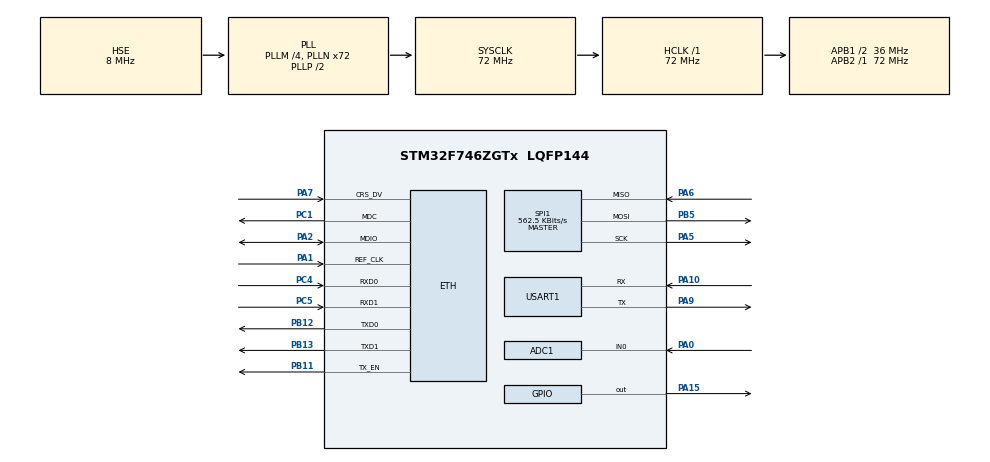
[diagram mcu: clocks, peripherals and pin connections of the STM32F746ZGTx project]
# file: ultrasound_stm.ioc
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ADC1.Channel-0\#ChannelRegularConversion=ADC_CHANNEL_0
ADC1.ContinuousConvMode=ENABLE
ADC1.DMAContinuousRequests=DISABLE
ADC1.EOCSelection=ADC_EOC_SEQ_CONV
ADC1.NbrOfConversionFlag=1
ADC1.Rank-0\#ChannelRegularConversion=1
ADC1.Resolution=ADC_RESOLUTION_8B
ADC1.SamplingTime-0\#ChannelRegularConversion=ADC_SAMPLETIME_3CYCLES
ADC1.ScanConvMode=ADC_SCAN_ENABLE
ADC1.master=1
ETH.MediaInterface=ETH_MEDIA_INTERFACE_RMII
LWIP.IP_ADDRESS=169.254.212.180
LWIP.LWIP_DHCP=0
LWIP.NETMASK_ADDRESS=255.255.000.000
LWIP.Version=v2.0.3_Cube
Mcu.Family=STM32F7
Mcu.Name=STM32F746ZGTx
Mcu.Package=LQFP144
NVIC.PriorityGroup=NVIC_PRIORITYGROUP_4
PA0/WKUP.Signal=ADCx_IN0
PA1.Mode=RMII
PA1.Signal=ETH_REF_CLK
PA10.Mode=Asynchronous
PA10.Signal=USART1_RX
PA13.Mode=Serial_Wire
PA13.Signal=SYS_JTMS-SWDIO
PA14.Mode=Serial_Wire
PA14.Signal=SYS_JTCK-SWCLK
PA15.Signal=GPIO_Output
PA2.Mode=RMII
PA2.Signal=ETH_MDIO
PA4.Signal=SPI1_NSS
PA5.Mode=Full_Duplex_Master
PA5.Signal=SPI1_SCK
PA6.Mode=Full_Duplex_Master
PA6.Signal=SPI1_MISO
PA7.Mode=RMII
PA7.Signal=ETH_CRS_DV
PA9.Mode=Asynchronous
PA9.Signal=USART1_TX
PB11.Mode=RMII
PB11.Signal=ETH_TX_EN
PB12.Mode=RMII
PB12.Signal=ETH_TXD0
PB13.Mode=RMII
PB13.Signal=ETH_TXD1
PB5.Mode=Full_Duplex_Master
PB5.Signal=SPI1_MOSI
PC1.Mode=RMII
PC1.Signal=ETH_MDC
PC4.Mode=RMII
PC4.Signal=ETH_RXD0
PC5.Mode=RMII
PC5.Signal=ETH_RXD1
PH0/OSC_IN.Mode=HSE-External-Oscillator
PH0/OSC_IN.Signal=RCC_OSC_IN
PH1/OSC_OUT.Mode=HSE-External-Oscillator
PH1/OSC_OUT.Signal=RCC_OSC_OUT
ProjectManager.HeapSize=0x200
ProjectManager.StackSize=0x4000
ProjectManager.TargetToolchain=STM32CubeIDE
RCC.48MHZClocksFreq_Value=24000000
RCC.AHBFreq_Value=72000000
RCC.APB1CLKDivider=RCC_HCLK_DIV2
RCC.APB1Freq_Value=36000000
RCC.APB1TimFreq_Value=72000000
RCC.APB2Freq_Value=72000000
RCC.APB2TimFreq_Value=72000000
RCC.CortexFreq_Value=72000000
RCC.HCLKFreq_Value=72000000
RCC.HSE_VALUE=8000000
RCC.HSI_VALUE=16000000
RCC.LSE_VALUE=32768
RCC.PLLM=4
RCC.PLLMUL=RCC_PLL_MUL9
RCC.PLLN=72
RCC.PLLQ=3
RCC.PLLSourceVirtual=RCC_PLLSOURCE_HSE
RCC.PRESCALERUSB=RCC_USBCLKSOURCE_PLL_DIV1_5
RCC.SYSCLKFreq_VALUE=72000000
RCC.SYSCLKSource=RCC_SYSCLKSOURCE_PLLCLK
RCC.SYSCLKSourceVirtual=RCC_SYSCLKSOURCE_PLLCLK
RCC.USBFreq_Value=48000000
RCC.VCOOutputFreq_Value=144000000
SH.ADCx_IN0.0=ADC1_IN0,IN0
SPI1.BaudRatePrescaler=SPI_BAUDRATEPRESCALER_128
SPI1.CalculateBaudRate=562.5 KBits/s
SPI1.DataSize=SPI_DATASIZE_8BIT
SPI1.Direction=SPI_DIRECTION_2LINES
SPI1.Mode=SPI_MODE_MASTER
SPI1.VirtualType=VM_MASTER
USART1.VirtualMode-Asynchronous=VM_ASYNC
VP_LWIP_VS_Enabled.Mode=Enabled
board=NUCLEO-F746ZG

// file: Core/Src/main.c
/* USER CODE BEGIN Header */
/**
  ******************************************************************************
  * @file           : main.c
  * @brief          : Main program body
  ******************************************************************************
  * @attention
  *
  * <h2><center>&copy; Copyright (c) 2019 STMicroelectronics.
  * All rights reserved.</center></h2>
  *
  * This software component is licensed by ST under BSD 3-Clause license,
  * the "License"; You may not use this file except in compliance with the
  * License. You may obtain a copy of the License at:
  *                        opensource.org/licenses/BSD-3-Clause
  *
  ******************************************************************************
  */
/* USER CODE END Header */

#include "main.h"
#include "adc.h"
#include "lwip.h"
#include "spi.h"
#include "usart.h"
#include "gpio.h"

/* USER CODE BEGIN Includes */
#include <stdio.h>
#include <stdarg.h>
#include <string.h>
#include "udp_client.h"
/* USER CODE END Includes */

/* USER CODE BEGIN PTD */
#define ADC_BUFFER_LENGTH 500
/* USER CODE END PTD */

/* USER CODE BEGIN PV */
unsigned long timestamp;
uint16_t encoder;
uint8_t adc_buffer[ADC_BUFFER_LENGTH];
const unsigned char marker[10] = {0x00,0x01,0x00,0x01,0x00,0x01,0x00,0x01,0x00,0x01};
unsigned char timestamp_char[4];
unsigned char encoder_char[2];
unsigned char information_byte = 0x81;
unsigned char adc_char[2*ADC_BUFFER_LENGTH];
unsigned char crc_input[4+1+2+2*ADC_BUFFER_LENGTH];
unsigned char crc_char[4];
unsigned char message_buff[10+4+1+2+2*ADC_BUFFER_LENGTH+4];
uint32_t crc_result;
/* USER CODE END PV */

void SystemClock_Config(void);
/* USER CODE BEGIN PFP */
void vprint(const char *fmt, va_list argp);
void serial_printf(const char *fmt, ...);
uint16_t getAMTPos();
unsigned long changed_endian_4Bytes(unsigned long num);
int16_t changed_endian_2Bytes(int16_t value);
uint32_t rc_crc32(uint32_t crc, unsigned char *buf, size_t len);
/* USER CODE END PFP */

int main(void)
{
  /* USER CODE BEGIN 1 */
	int i;
	for (i = 0; i < ADC_BUFFER_LENGTH; i++){
		adc_char[2*i+1] = 0x00;
	}
  /* USER CODE END 1 */

  /* MCU Configuration--------------------------------------------------------*/

  /* Reset of all peripherals, Initializes the Flash interface and the Systick. */
  HAL_Init();

  /* Configure the system clock */
  SystemClock_Config();

  /* Initialize all configured peripherals */
  MX_GPIO_Init();
  MX_LWIP_Init();
  MX_USART1_UART_Init();
  MX_ADC1_Init();
  MX_SPI1_Init();
  /* USER CODE BEGIN 2 */
  HAL_ADC_Start(&hadc1);
  udp_client_init(); // initialize udp client
  /* USER CODE END 2 */

  /* Infinite loop */
  while (1)
  {

    /* USER CODE BEGIN 3 */
	  MX_LWIP_Process();

	  /* Get Time Stamp */
	  timestamp = HAL_GetTick();
	  //serial_printf("Timestamp %d\r\n ", timestamp);
	  //serial_printf("Size of timestamp %d\r\n", sizeof(timestamp));
	  timestamp = changed_endian_4Bytes(timestamp);
	  memcpy(timestamp_char, (unsigned char *)&timestamp, sizeof(timestamp_char));

	  /* Use PA15 as TX Pin */
	  HAL_GPIO_TogglePin(GPIOA, GPIO_PIN_15);
	  HAL_GPIO_TogglePin(GPIOA, GPIO_PIN_15);

	  /* Start ADC Sampling */
	  for (int i = 0; i < ADC_BUFFER_LENGTH; i++){
		  HAL_ADC_PollForConversion(&hadc1, 10);
		  adc_buffer[i] = HAL_ADC_GetValue(&hadc1);
	  }

	  /* Read Encoder */
	  encoder = getAMTPos();
	  //serial_printf("Encoder Reading: %d\r\n", encoder);
	  encoder = changed_endian_2Bytes(encoder);
	  memcpy(encoder_char, &encoder, sizeof(encoder_char));

	  /* Pad ADC Data */
	  for (i = 0; i < ADC_BUFFER_LENGTH; i++){
		  uint8_t temp = adc_buffer[i];
		  memcpy(adc_char+i*2, &temp, sizeof(temp));
	  }

	  /* combine input for crc */
	  memcpy(crc_input, timestamp_char, sizeof(timestamp_char));
	  memcpy(crc_input+sizeof(timestamp_char), &information_byte, sizeof(information_byte));
	  memcpy(crc_input+sizeof(timestamp_char)+sizeof(information_byte), encoder_char, sizeof(encoder_char));
	  memcpy(crc_input+sizeof(timestamp_char)+sizeof(information_byte)+sizeof(encoder_char), adc_char, sizeof(adc_char));

	  /* calculate crc 32 */
	  crc_result = rc_crc32(0, crc_input, sizeof(crc_input));
	  crc_result = changed_endian_4Bytes(crc_result);
	  memcpy(crc_char, (unsigned char *)&crc_result, sizeof(crc_char));

	  /* combine everything into message */
	  memcpy(message_buff, marker, sizeof(marker));
	  memcpy(message_buff+sizeof(marker), crc_input, sizeof(crc_input));
	  memcpy(message_buff+sizeof(marker)+sizeof(crc_input), crc_char, sizeof(crc_char));

	  /* send udp pack */
	  char *me = "Hello World";
	  udp_client_send(me);

  }
  /* USER CODE END 3 */
}

void SystemClock_Config(void)
{
  RCC_OscInitTypeDef RCC_OscInitStruct = {0};
  RCC_ClkInitTypeDef RCC_ClkInitStruct = {0};
  RCC_PeriphCLKInitTypeDef PeriphClkInitStruct = {0};

  /** Configure the main internal regulator output voltage
  */
  __HAL_RCC_PWR_CLK_ENABLE();
  __HAL_PWR_VOLTAGESCALING_CONFIG(PWR_REGULATOR_VOLTAGE_SCALE3);
  /** Initializes the CPU, AHB and APB busses clocks
  */
  RCC_OscInitStruct.OscillatorType = RCC_OSCILLATORTYPE_HSE;
  RCC_OscInitStruct.HSEState = RCC_HSE_ON;
  RCC_OscInitStruct.PLL.PLLState = RCC_PLL_ON;
  RCC_OscInitStruct.PLL.PLLSource = RCC_PLLSOURCE_HSE;
  RCC_OscInitStruct.PLL.PLLM = 4;
  RCC_OscInitStruct.PLL.PLLN = 72;
  RCC_OscInitStruct.PLL.PLLP = RCC_PLLP_DIV2;
  RCC_OscInitStruct.PLL.PLLQ = 3;
  if (HAL_RCC_OscConfig(&RCC_OscInitStruct) != HAL_OK)
  {
    Error_Handler();
  }
  /** Initializes the CPU, AHB and APB busses clocks
  */
  RCC_ClkInitStruct.ClockType = RCC_CLOCKTYPE_HCLK|RCC_CLOCKTYPE_SYSCLK
                              |RCC_CLOCKTYPE_PCLK1|RCC_CLOCKTYPE_PCLK2;
  RCC_ClkInitStruct.SYSCLKSource = RCC_SYSCLKSOURCE_PLLCLK;
  RCC_ClkInitStruct.AHBCLKDivider = RCC_SYSCLK_DIV1;
  RCC_ClkInitStruct.APB1CLKDivider = RCC_HCLK_DIV2;
  RCC_ClkInitStruct.APB2CLKDivider = RCC_HCLK_DIV1;

  if (HAL_RCC_ClockConfig(&RCC_ClkInitStruct, FLASH_LATENCY_2) != HAL_OK)
  {
    Error_Handler();
  }
  PeriphClkInitStruct.PeriphClockSelection = RCC_PERIPHCLK_USART1;
  PeriphClkInitStruct.Usart1ClockSelection = RCC_USART1CLKSOURCE_PCLK2;
  if (HAL_RCCEx_PeriphCLKConfig(&PeriphClkInitStruct) != HAL_OK)
  {
    Error_Handler();
  }
}

/* USER CODE BEGIN 4 */
void vprint(const char *fmt, va_list argp)
{
    char string[200];
    if(0 < vsprintf(string,fmt,argp)) // build string
    {
        HAL_UART_Transmit(&huart1, (uint8_t*)string, strlen(string), 0xffffff); // send message via UART
    }
}

void serial_printf(const char *fmt, ...) // custom printf() function
{
    va_list argp;
    va_start(argp, fmt);
    vprint(fmt, argp);
    va_end(argp);
}

uint16_t getAMTPos() {
	//var to help track status and commands
	uint16_t abs_position = 0;
	uint8_t temp[2];
	uint8_t rx_buff = 0xA5;
	uint8_t READPOS = 0x10;		//read command
	uint8_t NOP = 0x00;				//NOP command

	//send read command
	GPIOA->BSRR = 0x100000U;
	HAL_SPI_TransmitReceive(&hspi1, &READPOS, &rx_buff, 1, 0xFFFF);
	GPIOA->BSRR = 0x0010U;
	HAL_Delay(1);

	//keep read until get 10 (ready)
	while (rx_buff != 0x10) {
		GPIOA->BSRR = 0x100000U;
		HAL_SPI_TransmitReceive(&hspi1, &NOP, &rx_buff, 1, 0xFFFF);
		GPIOA->BSRR = 0x0010U;
		HAL_Delay(1);
	}

	//now is ready: get two bytes that is the 12 bit position
	GPIOA->BSRR = 0x100000U;
	HAL_SPI_TransmitReceive(&hspi1, &NOP, &rx_buff, 1, 0xFFFF);
	GPIOA->BSRR = 0x0010U;
	temp[0] = rx_buff;

	GPIOA->BSRR = 0x100000U;
	HAL_SPI_TransmitReceive(&hspi1, &NOP, &rx_buff, 1, 0xFFFF);
	GPIOA->BSRR = 0x0010U;
	temp[1] = rx_buff;

	temp[0] &= ~0xF0;
	abs_position = temp[0] << 8;
	abs_position += temp[1];

	return abs_position;
}

int16_t changed_endian_2Bytes(int16_t value){
    return ((value >> 8) & 0x00ff) | ((value & 0x00ff) << 8);
}

unsigned long changed_endian_4Bytes(unsigned long num){
    int byte0, byte1, byte2, byte3;
    byte0 = (num & 0x000000FF) >> 0 ;
    byte1 = (num & 0x0000FF00) >> 8 ;
    byte2 = (num & 0x00FF0000) >> 16 ;
    byte3 = (num & 0xFF000000) >> 24 ;
    return((byte0 << 24) | (byte1 << 16) | (byte2 << 8) | (byte3 << 0));
}

uint32_t rc_crc32(uint32_t crc, unsigned char *buf, size_t len){
	static uint32_t table[256];
	static int have_table = 0;
	uint32_t rem;
	uint8_t octet;
	int i, j;
	unsigned char *p, *q;
	/* This check is not thread safe; there is no mutex. */
	if (have_table == 0) {
        //fprintf(stdout, "Table\n");
		/* Calculate CRC table. */
		for (i = 0; i < 256; i++) {
			rem = i;  /* remainder from polynomial division */
			for (j = 0; j < 8; j++) {
				if (rem & 1) {
					rem >>= 1;
					rem ^= 0xedb88320;
				} else
					rem >>= 1;
			}
			table[i] = rem;
		}
		have_table = 1;
	}
	crc = ~crc;
	q = buf + len;
	for (p = buf; p < q; p++) {
		octet = *p;  /* Cast to unsigned octet. */
		crc = (crc >> 8) ^ table[(crc & 0xff) ^ octet];
	}
	return ~crc;
}

/* USER CODE END 4 */

void Error_Handler(void)
{
}

/************************ (C) COPYRIGHT STMicroelectronics *****END OF FILE****/
